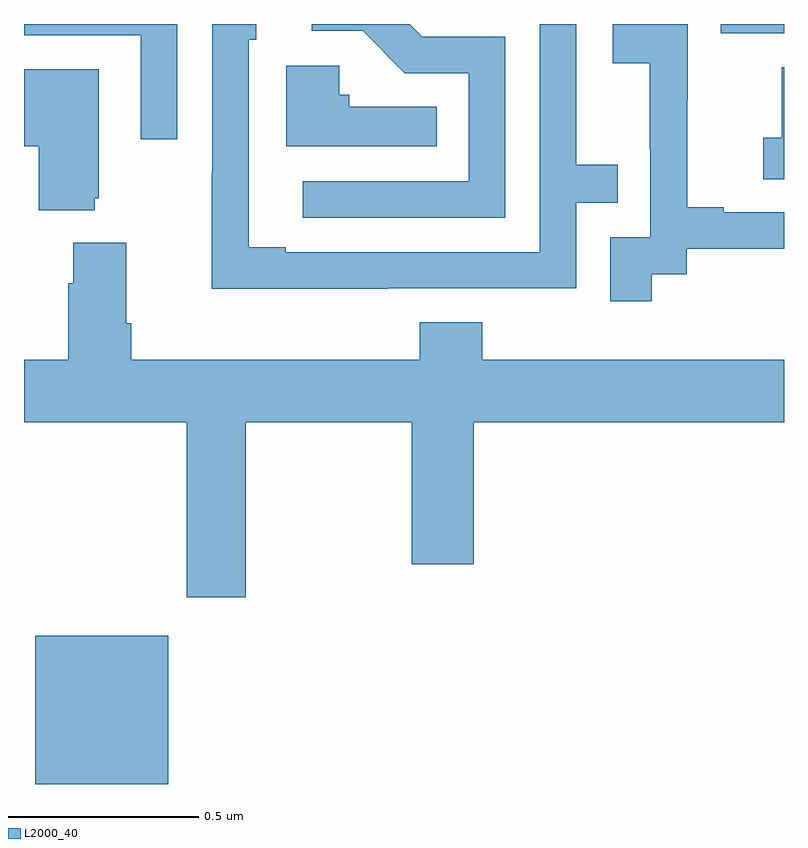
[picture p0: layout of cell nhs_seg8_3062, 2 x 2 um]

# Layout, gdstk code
import gdstk
lib = gdstk.Library(unit=1e-6, precision=1e-09)
def R(c, l, rs):  # rectangles x0, y0, x1, y1
    for r in rs: c.add(gdstk.rectangle(r[:2], r[2:], *l))
def P(c, l, *ps):  # polygons
    for p in ps: c.add(gdstk.Polygon(p, *l))
L2000_40 = (2000, 40)

nhs_seg8_3062 = lib.new_cell('nhs_seg8_3062')
R(nhs_seg8_3062, L2000_40, [(152.03,1096.9,152.38,1097.29), (153.834,1098.876,154,1098.9)])
P(nhs_seg8_3062, L2000_40, [(153.267,1098.867),(153.048,1098.867),(153.015,1098.9),(152.757,1098.9),(152.757,1098.882),(152.891,1098.882),(153.002,1098.771),(153.171,1098.771),(153.171,1098.486),(152.733,1098.486),(152.733,1098.39),(153.267,1098.39)],
  [(152.957,1098.204),(153.453,1098.204),(153.453,1098.429),(153.563,1098.429),(153.563,1098.53),(153.453,1098.53),(153.453,1098.9),(153.357,1098.9),(153.357,1098.3),(152.689,1098.3),(152.689,1098.313),(152.592,1098.313),(152.592,1098.858),(152.611,1098.858),(152.611,1098.9),(152.496,1098.9),(152.496,1098.509),(152.494,1098.509),(152.494,1098.203),(152.957,1098.203)],
  [(153.652,1098.241),(153.744,1098.241),(153.744,1098.309),(154,1098.309),(154,1098.405),(153.841,1098.405),(153.841,1098.418),(153.746,1098.418),(153.746,1098.701),(153.747,1098.701),(153.747,1098.9),(153.549,1098.9),(153.549,1098.797),(153.647,1098.797),(153.647,1098.569),(153.648,1098.569),(153.648,1098.339),(153.543,1098.339),(153.543,1098.171),(153.652,1098.171)],
  [(152.403,1098.9),(152,1098.9),(152,1098.87),(152.307,1098.87),(152.307,1098.597),(152.403,1098.597)],
  [(153.086,1098.682),(152.856,1098.682),(152.856,1098.714),(152.829,1098.714),(152.829,1098.79),(152.69,1098.79),(152.69,1098.578),(153.086,1098.578)],
  [(154,1098.786),(153.994,1098.786),(153.994,1098.601),(153.945,1098.601),(153.945,1098.492),(154,1098.492)],
  [(152.186,1098.441),(152.197,1098.441),(152.197,1098.781),(152,1098.781),(152,1098.578),(152.039,1098.578),(152.039,1098.41),(152.186,1098.41)],
  [(152.583,1097.852),(153.02,1097.852),(153.02,1097.478),(153.184,1097.478),(153.184,1097.852),(154,1097.852),(154,1098.016),(153.206,1098.016),(153.206,1098.115),(153.041,1098.115),(153.041,1098.016),(152.282,1098.016),(152.282,1098.112),(152.269,1098.112),(152.269,1098.325),(152.129,1098.325),(152.129,1098.218),(152.117,1098.218),(152.117,1098.016),(152,1098.016),(152,1097.852),(152.428,1097.852),(152.428,1097.391),(152.583,1097.391)])

lib.write_gds('nhs_seg8_3062.gds')
